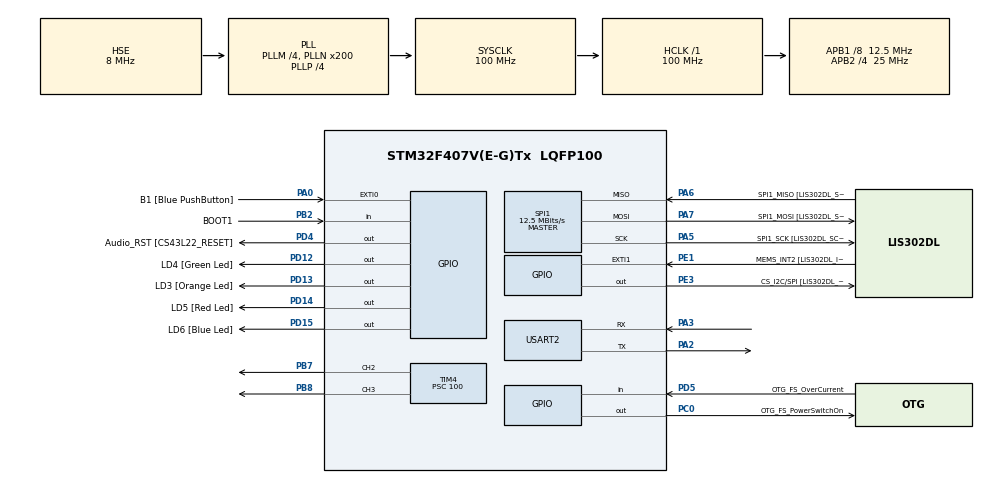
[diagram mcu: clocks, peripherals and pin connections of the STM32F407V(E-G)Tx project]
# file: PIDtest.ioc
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FREERTOS.Tasks01=ReadSensor,2,1024,ReadSensorLoop,Default,NULL,Dynamic,NULL,NULL;AttitudeCal,1,1024,AttitudeCalLoop,Default,NULL,Dynamic,NULL,NULL;PrintData,-2,1024,PrintDataLoop,Default,NULL,Dynamic,NULL,NULL
Mcu.Family=STM32F4
Mcu.Name=STM32F407V(E-G)Tx
Mcu.Package=LQFP100
NVIC.PriorityGroup=NVIC_PRIORITYGROUP_4
NVIC.USART2_IRQn=true\:5\:0\:false\:false\:true\:true
PA0-WKUP.GPIO_Label=B1 [Blue PushButton]
PA0-WKUP.GPIO_ModeDefaultEXTI=GPIO_MODE_EVT_RISING
PA0-WKUP.GPIO_PuPd=GPIO_NOPULL
PA0-WKUP.Signal=GPXTI0
PA10.GPIO_Label=OTG_FS_ID
PA10.GPIO_Mode=GPIO_MODE_AF_PP
PA10.GPIO_PuPd=GPIO_NOPULL
PA10.GPIO_Speed=GPIO_SPEED_FREQ_LOW
PA10.Signal=USB_OTG_FS_ID
PA11.GPIO_Label=OTG_FS_DM
PA11.GPIO_Mode=GPIO_MODE_AF_PP
PA11.GPIO_PuPd=GPIO_NOPULL
PA11.GPIO_Speed=GPIO_SPEED_FREQ_LOW
PA11.Signal=USB_OTG_FS_DM
PA12.GPIO_Label=OTG_FS_DP
PA12.GPIO_Mode=GPIO_MODE_AF_PP
PA12.GPIO_PuPd=GPIO_NOPULL
PA12.GPIO_Speed=GPIO_SPEED_FREQ_LOW
PA12.Signal=USB_OTG_FS_DP
PA13.GPIO_Label=SWDIO
PA13.Mode=Serial_Wire
PA13.Signal=SYS_JTMS-SWDIO
PA14.GPIO_Label=SWCLK
PA14.Mode=Serial_Wire
PA14.Signal=SYS_JTCK-SWCLK
PA2.Mode=Asynchronous
PA2.Signal=USART2_TX
PA3.Mode=Asynchronous
PA3.Signal=USART2_RX
PA4.GPIO_Label=I2S3_WS [CS43L22_LRCK]
PA4.GPIO_Mode=GPIO_MODE_AF_PP
PA4.GPIO_PuPd=GPIO_NOPULL
PA4.GPIO_Speed=GPIO_SPEED_FREQ_LOW
PA4.Signal=I2S3_WS
PA5.GPIO_Label=SPI1_SCK [LIS302DL_SCL/SPC]
PA5.GPIO_Mode=GPIO_MODE_AF_PP
PA5.GPIO_PuPd=GPIO_NOPULL
PA5.GPIO_Speed=GPIO_SPEED_FREQ_LOW
PA5.Mode=Full_Duplex_Master
PA5.Signal=SPI1_SCK
PA6.GPIO_Label=SPI1_MISO [LIS302DL_SDO]
PA6.GPIO_Mode=GPIO_MODE_AF_PP
PA6.GPIO_PuPd=GPIO_NOPULL
PA6.GPIO_Speed=GPIO_SPEED_FREQ_LOW
PA6.Mode=Full_Duplex_Master
PA6.Signal=SPI1_MISO
PA7.GPIO_Label=SPI1_MOSI [LIS302DL_SDA/SDI/SDO]
PA7.GPIO_Mode=GPIO_MODE_AF_PP
PA7.GPIO_PuPd=GPIO_NOPULL
PA7.GPIO_Speed=GPIO_SPEED_FREQ_LOW
PA7.Mode=Full_Duplex_Master
PA7.Signal=SPI1_MOSI
PA9.GPIO_Label=VBUS_FS
PA9.GPIO_Mode=GPIO_MODE_INPUT
PA9.GPIO_PuPd=GPIO_NOPULL
PA9.Signal=USB_OTG_FS_VBUS
PB10.GPIO_Label=CLK_IN [MP45DT02_CLK]
PB10.GPIO_Mode=GPIO_MODE_AF_PP
PB10.GPIO_PuPd=GPIO_NOPULL
PB10.GPIO_Speed=GPIO_SPEED_FREQ_LOW
PB10.Signal=I2S2_CK
PB2.GPIO_Label=BOOT1
PB2.GPIO_Mode=GPIO_MODE_INPUT
PB2.GPIO_PuPd=GPIO_NOPULL
PB2.Signal=GPIO_Input
PB3.GPIO_Label=SWO
PB3.Signal=SYS_JTDO-SWO
PB7.Signal=S_TIM4_CH2
PB8.Signal=S_TIM4_CH3
PC0.GPIO_Label=OTG_FS_PowerSwitchOn
PC0.GPIO_PuPd=GPIO_NOPULL
PC0.GPIO_Speed=GPIO_SPEED_FREQ_LOW
PC0.PinState=GPIO_PIN_SET
PC0.Signal=GPIO_Output
PC10.GPIO_Label=I2S3_SCK [CS43L22_SCLK]
PC10.GPIO_Mode=GPIO_MODE_AF_PP
PC10.GPIO_PuPd=GPIO_NOPULL
PC10.GPIO_Speed=GPIO_SPEED_FREQ_LOW
PC10.Signal=I2S3_CK
PC12.GPIO_Label=I2S3_SD [CS43L22_SDIN]
PC12.GPIO_Mode=GPIO_MODE_AF_PP
PC12.GPIO_PuPd=GPIO_NOPULL
PC12.GPIO_Speed=GPIO_SPEED_FREQ_LOW
PC12.Signal=I2S3_SD
PC14-OSC32_IN.GPIO_Label=PC14-OSC32_IN
PC14-OSC32_IN.Signal=RCC_OSC32_IN
PC15-OSC32_OUT.GPIO_Label=PC15-OSC32_OUT
PC15-OSC32_OUT.Signal=RCC_OSC32_OUT
PC3.GPIO_Label=PDM_OUT [MP45DT02_DOUT]
PC3.GPIO_Mode=GPIO_MODE_AF_PP
PC3.GPIO_PuPd=GPIO_NOPULL
PC3.GPIO_Speed=GPIO_SPEED_FREQ_LOW
PC3.Signal=I2S2_SD
PC7.GPIO_Label=I2S3_MCK [CS43L22_MCLK]
PC7.GPIO_Mode=GPIO_MODE_AF_PP
PC7.GPIO_PuPd=GPIO_NOPULL
PC7.GPIO_Speed=GPIO_SPEED_FREQ_LOW
PC7.Signal=I2S3_MCK
PD12.GPIO_Label=LD4 [Green Led]
PD12.GPIO_PuPd=GPIO_NOPULL
PD12.GPIO_Speed=GPIO_SPEED_FREQ_LOW
PD12.Signal=GPIO_Output
PD13.GPIO_Label=LD3 [Orange Led]
PD13.GPIO_PuPd=GPIO_NOPULL
PD13.GPIO_Speed=GPIO_SPEED_FREQ_LOW
PD13.Signal=GPIO_Output
PD14.GPIO_Label=LD5 [Red Led]
PD14.GPIO_PuPd=GPIO_NOPULL
PD14.GPIO_Speed=GPIO_SPEED_FREQ_LOW
PD14.Signal=GPIO_Output
PD15.GPIO_Label=LD6 [Blue Led]
PD15.GPIO_PuPd=GPIO_NOPULL
PD15.GPIO_Speed=GPIO_SPEED_FREQ_LOW
PD15.Signal=GPIO_Output
PD4.GPIO_Label=Audio_RST [CS43L22_RESET]
PD4.GPIO_PuPd=GPIO_NOPULL
PD4.GPIO_Speed=GPIO_SPEED_FREQ_LOW
PD4.Signal=GPIO_Output
PD5.GPIO_Label=OTG_FS_OverCurrent
PD5.GPIO_Mode=GPIO_MODE_INPUT
PD5.GPIO_PuPd=GPIO_NOPULL
PD5.Signal=GPIO_Input
PE1.GPIO_Label=MEMS_INT2 [LIS302DL_INT2]
PE1.GPIO_ModeDefaultEXTI=GPIO_MODE_EVT_RISING
PE1.GPIO_PuPd=GPIO_NOPULL
PE1.Signal=GPXTI1
PE3.GPIO_Label=CS_I2C/SPI [LIS302DL_CS_I2C/SPI]
PE3.GPIO_PuPd=GPIO_NOPULL
PE3.GPIO_Speed=GPIO_SPEED_FREQ_LOW
PE3.Signal=GPIO_Output
PH0-OSC_IN.GPIO_Label=PH0-OSC_IN
PH0-OSC_IN.Mode=HSE-External-Oscillator
PH0-OSC_IN.Signal=RCC_OSC_IN
PH1-OSC_OUT.GPIO_Label=PH1-OSC_OUT
PH1-OSC_OUT.Mode=HSE-External-Oscillator
PH1-OSC_OUT.Signal=RCC_OSC_OUT
ProjectManager.HeapSize=0x200
ProjectManager.StackSize=0x400
ProjectManager.TargetToolchain=SW4STM32
RCC.48MHZClocksFreq_Value=57142857.14285714
RCC.AHBFreq_Value=100000000
RCC.APB1CLKDivider=RCC_HCLK_DIV8
RCC.APB1Freq_Value=12500000
RCC.APB1TimFreq_Value=25000000
RCC.APB2CLKDivider=RCC_HCLK_DIV4
RCC.APB2Freq_Value=25000000
RCC.APB2TimFreq_Value=50000000
RCC.CortexFreq_Value=100000000
RCC.HCLKFreq_Value=100000000
RCC.HSE_VALUE=8000000
RCC.HSI_VALUE=16000000
RCC.LSE_VALUE=32768
RCC.PLLM=4
RCC.PLLN=200
RCC.PLLP=RCC_PLLP_DIV4
RCC.PLLQ=7
RCC.PLLSourceVirtual=RCC_PLLSOURCE_HSE
RCC.SYSCLKFreq_VALUE=100000000
RCC.SYSCLKSource=RCC_SYSCLKSOURCE_PLLCLK
RCC.VCOOutputFreq_Value=400000000
SH.S_TIM4_CH2.0=TIM4_CH2,PWM Generation2 CH2
SH.S_TIM4_CH3.0=TIM4_CH3,PWM Generation3 CH3
SPI1.CalculateBaudRate=12.5 MBits/s
SPI1.Mode=SPI_MODE_MASTER
TIM4.Channel-PWM\ Generation2\ CH2=TIM_CHANNEL_2
TIM4.Channel-PWM\ Generation3\ CH3=TIM_CHANNEL_3
TIM4.Period=5000
TIM4.Prescaler=100
TIM4.Pulse-PWM\ Generation2\ CH2=100
TIM4.Pulse-PWM\ Generation3\ CH3=1000
VP_FREERTOS_VS_ENABLE.Mode=Enabled
board=STM32F4DISCOVERY

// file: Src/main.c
/**
  ******************************************************************************
  * File Name          : main.c
  * Description        : Main program body
  ******************************************************************************
  *
  * Copyright (c) 2017 STMicroelectronics International N.V.
  * All rights reserved.
  *
  * Redistribution and use in source and binary forms, with or without
  * modification, are permitted, provided that the following conditions are met:
  *
  * 1. Redistribution of source code must retain the above copyright notice,
  *    this list of conditions and the following disclaimer.
  * 2. Redistributions in binary form must reproduce the above copyright notice,
  *    this list of conditions and the following disclaimer in the documentation
  *    and/or other materials provided with the distribution.
  * 3. Neither the name of STMicroelectronics nor the names of other
  *    contributors to this software may be used to endorse or promote products
  *    derived from this software without specific written permission.
  * 4. This software, including modifications and/or derivative works of this
  *    software, must execute solely and exclusively on microcontroller or
  *    microprocessor devices manufactured by or for STMicroelectronics.
  * 5. Redistribution and use of this software other than as permitted under
  *    this license is void and will automatically terminate your rights under
  *    this license.
  *
  * THIS SOFTWARE IS PROVIDED BY STMICROELECTRONICS AND CONTRIBUTORS "AS IS"
  * AND ANY EXPRESS, IMPLIED OR STATUTORY WARRANTIES, INCLUDING, BUT NOT
  * LIMITED TO, THE IMPLIED WARRANTIES OF MERCHANTABILITY, FITNESS FOR A
  * PARTICULAR PURPOSE AND NON-INFRINGEMENT OF THIRD PARTY INTELLECTUAL PROPERTY
  * RIGHTS ARE DISCLAIMED TO THE FULLEST EXTENT PERMITTED BY LAW. IN NO EVENT
  * SHALL STMICROELECTRONICS OR CONTRIBUTORS BE LIABLE FOR ANY DIRECT, INDIRECT,
  * INCIDENTAL, SPECIAL, EXEMPLARY, OR CONSEQUENTIAL DAMAGES (INCLUDING, BUT NOT
  * LIMITED TO, PROCUREMENT OF SUBSTITUTE GOODS OR SERVICES; LOSS OF USE, DATA,
  * OR PROFITS; OR BUSINESS INTERRUPTION) HOWEVER CAUSED AND ON ANY THEORY OF
  * LIABILITY, WHETHER IN CONTRACT, STRICT LIABILITY, OR TORT (INCLUDING
  * NEGLIGENCE OR OTHERWISE) ARISING IN ANY WAY OUT OF THE USE OF THIS SOFTWARE,
  * EVEN IF ADVISED OF THE POSSIBILITY OF SUCH DAMAGE.
  *
  ******************************************************************************
  */
#include "main.h"
#include "stm32f4xx_hal.h"
#include "cmsis_os.h"

/* USER CODE BEGIN Includes */
#include <string.h>
#include <stdio.h>
#include <math.h>
#include "matrix.h"
#include "I2C_Software_Master.h"
/* USER CODE END Includes */

SPI_HandleTypeDef hspi1;

TIM_HandleTypeDef htim4;

UART_HandleTypeDef huart2;

osThreadId ReadSensorHandle;
osThreadId AttitudeCalHandle;
osThreadId PrintDataHandle;

/* USER CODE BEGIN PV */
/* Private variables ---------------------------------------------------------*/

/* USER CODE END PV */

void SystemClock_Config(void);
void Error_Handler(void);
static void MX_GPIO_Init(void);
static void MX_SPI1_Init(void);
static void MX_USART2_UART_Init(void);
static void MX_TIM4_Init(void);
void ReadSensorLoop(void const * argument);
void AttitudeCalLoop(void const * argument);
void PrintDataLoop(void const * argument);

void HAL_TIM_MspPostInit(TIM_HandleTypeDef *htim);

/* USER CODE BEGIN PFP */
/* Private function prototypes -----------------------------------------------*/

/* USER CODE END PFP */

/* USER CODE BEGIN 0 */
void GyroInit();
void GyroWriteOne(uint8_t address, uint8_t data);
void GyroReadData(uint8_t address, int readAmount, uint8_t *databuf);
void AccInit();
void user_pwm_setvalue(uint16_t value, uint32_t ch);
void servoControl(char axis, float conAngle);
void moveCommand(float AskedRoll, float AskedPitch);
int8_t u2txbuf[100];
#define print2UART(...) sprintf(u2txbuf, __VA_ARGS__);HAL_UART_Transmit(&huart2, u2txbuf, strlen((char *)u2txbuf), 1000);
#define AccAddress 0x32

char DataIsReady = 0;
uint8_t GyroRawData[6], AccRawData[6];
uint8_t RxBuf;
int16_t GyroOffset[3]={0},AccOffset[3]={0};
uint16_t pwmDutyX, pwmDutyY;
uint32_t time_s,time;
float Roll=.0f, Pitch=.0f, Yaw=.0f;
float Roll_e[3] = {0}, Pitch_e[3] = {0};
Matrix(GyroDCM,3,3);
Matrix(AccDCM,3,3);
typedef union _f2b{
	float F;
	uint8_t b[4];
}F2B;

F2B setRoll, setPitch;

/* USER CODE END 0 */

int main(void)
{

  /* MCU Configuration----------------------------------------------------------*/

  /* Reset of all peripherals, Initializes the Flash interface and the Systick. */
  HAL_Init();

  /* Configure the system clock */
  SystemClock_Config();

  /* Initialize all configured peripherals */
  MX_GPIO_Init();
  MX_SPI1_Init();
  MX_USART2_UART_Init();
  MX_TIM4_Init();

  /* USER CODE BEGIN 2 */
  setRoll.F = setPitch.F = .0f;
  I2C_SoftWare_Master_Init();
  HAL_GPIO_WritePin(GPIOD, LD4_Pin, GPIO_PIN_RESET);
  pwmDutyX = pwmDutyY = 400;
  user_pwm_setvalue(pwmDutyX, TIM_CHANNEL_2);
  user_pwm_setvalue(pwmDutyY, TIM_CHANNEL_3);
  HAL_Delay(500);
  GyroInit();
  AccInit();
  eye_Matrix(GyroDCM, 3);
  HAL_GPIO_WritePin(GPIOD, LD4_Pin, GPIO_PIN_SET);
  HAL_UART_Receive_IT(&huart2, &RxBuf, 1);
  /* USER CODE END 2 */

  /* Create the thread(s) */
  /* definition and creation of ReadSensor */
  osThreadDef(ReadSensor, ReadSensorLoop, osPriorityHigh, 0, 1024);
  ReadSensorHandle = osThreadCreate(osThread(ReadSensor), NULL);

  /* definition and creation of AttitudeCal */
  osThreadDef(AttitudeCal, AttitudeCalLoop, osPriorityAboveNormal, 0, 1024);
  AttitudeCalHandle = osThreadCreate(osThread(AttitudeCal), NULL);

  /* definition and creation of PrintData */
  osThreadDef(PrintData, PrintDataLoop, osPriorityLow, 0, 1024);
  PrintDataHandle = osThreadCreate(osThread(PrintData), NULL);

  /* Start scheduler */
  osKernelStart();

  /* We should never get here as control is now taken by the scheduler */

  /* Infinite loop */
  while (1)
  {

  }

}

/** System Clock Configuration
*/
void SystemClock_Config(void)
{

  RCC_OscInitTypeDef RCC_OscInitStruct;
  RCC_ClkInitTypeDef RCC_ClkInitStruct;

    /**Configure the main internal regulator output voltage
    */
  __HAL_RCC_PWR_CLK_ENABLE();

  __HAL_PWR_VOLTAGESCALING_CONFIG(PWR_REGULATOR_VOLTAGE_SCALE1);

    /**Initializes the CPU, AHB and APB busses clocks
    */
  RCC_OscInitStruct.OscillatorType = RCC_OSCILLATORTYPE_HSE;
  RCC_OscInitStruct.HSEState = RCC_HSE_ON;
  RCC_OscInitStruct.PLL.PLLState = RCC_PLL_ON;
  RCC_OscInitStruct.PLL.PLLSource = RCC_PLLSOURCE_HSE;
  RCC_OscInitStruct.PLL.PLLM = 4;
  RCC_OscInitStruct.PLL.PLLN = 200;
  RCC_OscInitStruct.PLL.PLLP = RCC_PLLP_DIV4;
  RCC_OscInitStruct.PLL.PLLQ = 7;
  if (HAL_RCC_OscConfig(&RCC_OscInitStruct) != HAL_OK)
  {
    Error_Handler();
  }

    /**Initializes the CPU, AHB and APB busses clocks
    */
  RCC_ClkInitStruct.ClockType = RCC_CLOCKTYPE_HCLK|RCC_CLOCKTYPE_SYSCLK
                              |RCC_CLOCKTYPE_PCLK1|RCC_CLOCKTYPE_PCLK2;
  RCC_ClkInitStruct.SYSCLKSource = RCC_SYSCLKSOURCE_PLLCLK;
  RCC_ClkInitStruct.AHBCLKDivider = RCC_SYSCLK_DIV1;
  RCC_ClkInitStruct.APB1CLKDivider = RCC_HCLK_DIV8;
  RCC_ClkInitStruct.APB2CLKDivider = RCC_HCLK_DIV4;

  if (HAL_RCC_ClockConfig(&RCC_ClkInitStruct, FLASH_LATENCY_3) != HAL_OK)
  {
    Error_Handler();
  }

    /**Configure the Systick interrupt time
    */
  HAL_SYSTICK_Config(HAL_RCC_GetHCLKFreq()/1000);

    /**Configure the Systick
    */
  HAL_SYSTICK_CLKSourceConfig(SYSTICK_CLKSOURCE_HCLK);

  /* SysTick_IRQn interrupt configuration */
  HAL_NVIC_SetPriority(SysTick_IRQn, 15, 0);
}

/* SPI1 init function */
static void MX_SPI1_Init(void)
{

  hspi1.Instance = SPI1;
  hspi1.Init.Mode = SPI_MODE_MASTER;
  hspi1.Init.Direction = SPI_DIRECTION_2LINES;
  hspi1.Init.DataSize = SPI_DATASIZE_8BIT;
  hspi1.Init.CLKPolarity = SPI_POLARITY_LOW;
  hspi1.Init.CLKPhase = SPI_PHASE_1EDGE;
  hspi1.Init.NSS = SPI_NSS_SOFT;
  hspi1.Init.BaudRatePrescaler = SPI_BAUDRATEPRESCALER_2;
  hspi1.Init.FirstBit = SPI_FIRSTBIT_MSB;
  hspi1.Init.TIMode = SPI_TIMODE_DISABLE;
  hspi1.Init.CRCCalculation = SPI_CRCCALCULATION_DISABLE;
  hspi1.Init.CRCPolynomial = 10;
  if (HAL_SPI_Init(&hspi1) != HAL_OK)
  {
    Error_Handler();
  }

}

/* TIM4 init function */
static void MX_TIM4_Init(void)
{

  TIM_MasterConfigTypeDef sMasterConfig;
  TIM_OC_InitTypeDef sConfigOC;

  htim4.Instance = TIM4;
  htim4.Init.Prescaler = 100;
  htim4.Init.CounterMode = TIM_COUNTERMODE_UP;
  htim4.Init.Period = 5000;
  htim4.Init.ClockDivision = TIM_CLOCKDIVISION_DIV1;
  if (HAL_TIM_PWM_Init(&htim4) != HAL_OK)
  {
    Error_Handler();
  }

  sMasterConfig.MasterOutputTrigger = TIM_TRGO_RESET;
  sMasterConfig.MasterSlaveMode = TIM_MASTERSLAVEMODE_DISABLE;
  if (HAL_TIMEx_MasterConfigSynchronization(&htim4, &sMasterConfig) != HAL_OK)
  {
    Error_Handler();
  }

  sConfigOC.OCMode = TIM_OCMODE_PWM1;
  sConfigOC.Pulse = 100;
  sConfigOC.OCPolarity = TIM_OCPOLARITY_HIGH;
  sConfigOC.OCFastMode = TIM_OCFAST_DISABLE;
  if (HAL_TIM_PWM_ConfigChannel(&htim4, &sConfigOC, TIM_CHANNEL_2) != HAL_OK)
  {
    Error_Handler();
  }

  sConfigOC.Pulse = 1000;
  if (HAL_TIM_PWM_ConfigChannel(&htim4, &sConfigOC, TIM_CHANNEL_3) != HAL_OK)
  {
    Error_Handler();
  }

  HAL_TIM_MspPostInit(&htim4);

}

/* USART2 init function */
static void MX_USART2_UART_Init(void)
{

  huart2.Instance = USART2;
  huart2.Init.BaudRate = 115200;
  huart2.Init.WordLength = UART_WORDLENGTH_8B;
  huart2.Init.StopBits = UART_STOPBITS_1;
  huart2.Init.Parity = UART_PARITY_NONE;
  huart2.Init.Mode = UART_MODE_TX_RX;
  huart2.Init.HwFlowCtl = UART_HWCONTROL_NONE;
  huart2.Init.OverSampling = UART_OVERSAMPLING_16;
  if (HAL_UART_Init(&huart2) != HAL_OK)
  {
    Error_Handler();
  }

}

/** Configure pins as
        * Analog
        * Input
        * Output
        * EVENT_OUT
        * EXTI
     PC3   ------> I2S2_SD
     PA4   ------> I2S3_WS
     PB10   ------> I2S2_CK
     PC7   ------> I2S3_MCK
     PA9   ------> USB_OTG_FS_VBUS
     PA10   ------> USB_OTG_FS_ID
     PA11   ------> USB_OTG_FS_DM
     PA12   ------> USB_OTG_FS_DP
     PC10   ------> I2S3_CK
     PC12   ------> I2S3_SD
*/
static void MX_GPIO_Init(void)
{

  GPIO_InitTypeDef GPIO_InitStruct;

  /* GPIO Ports Clock Enable */
  __HAL_RCC_GPIOE_CLK_ENABLE();
  __HAL_RCC_GPIOC_CLK_ENABLE();
  __HAL_RCC_GPIOH_CLK_ENABLE();
  __HAL_RCC_GPIOA_CLK_ENABLE();
  __HAL_RCC_GPIOB_CLK_ENABLE();
  __HAL_RCC_GPIOD_CLK_ENABLE();

  /*Configure GPIO pin Output Level */
  HAL_GPIO_WritePin(CS_I2C_SPI_GPIO_Port, CS_I2C_SPI_Pin, GPIO_PIN_RESET);

  /*Configure GPIO pin Output Level */
  HAL_GPIO_WritePin(OTG_FS_PowerSwitchOn_GPIO_Port, OTG_FS_PowerSwitchOn_Pin, GPIO_PIN_SET);

  /*Configure GPIO pin Output Level */
  HAL_GPIO_WritePin(GPIOD, LD4_Pin|LD3_Pin|LD5_Pin|LD6_Pin
                          |Audio_RST_Pin, GPIO_PIN_RESET);

  /*Configure GPIO pin : CS_I2C_SPI_Pin */
  GPIO_InitStruct.Pin = CS_I2C_SPI_Pin;
  GPIO_InitStruct.Mode = GPIO_MODE_OUTPUT_PP;
  GPIO_InitStruct.Pull = GPIO_NOPULL;
  GPIO_InitStruct.Speed = GPIO_SPEED_FREQ_LOW;
  HAL_GPIO_Init(CS_I2C_SPI_GPIO_Port, &GPIO_InitStruct);

  /*Configure GPIO pin : OTG_FS_PowerSwitchOn_Pin */
  GPIO_InitStruct.Pin = OTG_FS_PowerSwitchOn_Pin;
  GPIO_InitStruct.Mode = GPIO_MODE_OUTPUT_PP;
  GPIO_InitStruct.Pull = GPIO_NOPULL;
  GPIO_InitStruct.Speed = GPIO_SPEED_FREQ_LOW;
  HAL_GPIO_Init(OTG_FS_PowerSwitchOn_GPIO_Port, &GPIO_InitStruct);

  /*Configure GPIO pin : PDM_OUT_Pin */
  GPIO_InitStruct.Pin = PDM_OUT_Pin;
  GPIO_InitStruct.Mode = GPIO_MODE_AF_PP;
  GPIO_InitStruct.Pull = GPIO_NOPULL;
  GPIO_InitStruct.Speed = GPIO_SPEED_FREQ_LOW;
  GPIO_InitStruct.Alternate = GPIO_AF5_SPI2;
  HAL_GPIO_Init(PDM_OUT_GPIO_Port, &GPIO_InitStruct);

  /*Configure GPIO pin : B1_Pin */
  GPIO_InitStruct.Pin = B1_Pin;
  GPIO_InitStruct.Mode = GPIO_MODE_EVT_RISING;
  GPIO_InitStruct.Pull = GPIO_NOPULL;
  HAL_GPIO_Init(B1_GPIO_Port, &GPIO_InitStruct);

  /*Configure GPIO pin : I2S3_WS_Pin */
  GPIO_InitStruct.Pin = I2S3_WS_Pin;
  GPIO_InitStruct.Mode = GPIO_MODE_AF_PP;
  GPIO_InitStruct.Pull = GPIO_NOPULL;
  GPIO_InitStruct.Speed = GPIO_SPEED_FREQ_LOW;
  GPIO_InitStruct.Alternate = GPIO_AF6_SPI3;
  HAL_GPIO_Init(I2S3_WS_GPIO_Port, &GPIO_InitStruct);

  /*Configure GPIO pin : BOOT1_Pin */
  GPIO_InitStruct.Pin = BOOT1_Pin;
  GPIO_InitStruct.Mode = GPIO_MODE_INPUT;
  GPIO_InitStruct.Pull = GPIO_NOPULL;
  HAL_GPIO_Init(BOOT1_GPIO_Port, &GPIO_InitStruct);

  /*Configure GPIO pin : CLK_IN_Pin */
  GPIO_InitStruct.Pin = CLK_IN_Pin;
  GPIO_InitStruct.Mode = GPIO_MODE_AF_PP;
  GPIO_InitStruct.Pull = GPIO_NOPULL;
  GPIO_InitStruct.Speed = GPIO_SPEED_FREQ_LOW;
  GPIO_InitStruct.Alternate = GPIO_AF5_SPI2;
  HAL_GPIO_Init(CLK_IN_GPIO_Port, &GPIO_InitStruct);

  /*Configure GPIO pins : LD4_Pin LD3_Pin LD5_Pin LD6_Pin
                           Audio_RST_Pin */
  GPIO_InitStruct.Pin = LD4_Pin|LD3_Pin|LD5_Pin|LD6_Pin
                          |Audio_RST_Pin;
  GPIO_InitStruct.Mode = GPIO_MODE_OUTPUT_PP;
  GPIO_InitStruct.Pull = GPIO_NOPULL;
  GPIO_InitStruct.Speed = GPIO_SPEED_FREQ_LOW;
  HAL_GPIO_Init(GPIOD, &GPIO_InitStruct);

  /*Configure GPIO pins : I2S3_MCK_Pin I2S3_SCK_Pin I2S3_SD_Pin */
  GPIO_InitStruct.Pin = I2S3_MCK_Pin|I2S3_SCK_Pin|I2S3_SD_Pin;
  GPIO_InitStruct.Mode = GPIO_MODE_AF_PP;
  GPIO_InitStruct.Pull = GPIO_NOPULL;
  GPIO_InitStruct.Speed = GPIO_SPEED_FREQ_LOW;
  GPIO_InitStruct.Alternate = GPIO_AF6_SPI3;
  HAL_GPIO_Init(GPIOC, &GPIO_InitStruct);

  /*Configure GPIO pin : VBUS_FS_Pin */
  GPIO_InitStruct.Pin = VBUS_FS_Pin;
  GPIO_InitStruct.Mode = GPIO_MODE_INPUT;
  GPIO_InitStruct.Pull = GPIO_NOPULL;
  HAL_GPIO_Init(VBUS_FS_GPIO_Port, &GPIO_InitStruct);

  /*Configure GPIO pins : OTG_FS_ID_Pin OTG_FS_DM_Pin OTG_FS_DP_Pin */
  GPIO_InitStruct.Pin = OTG_FS_ID_Pin|OTG_FS_DM_Pin|OTG_FS_DP_Pin;
  GPIO_InitStruct.Mode = GPIO_MODE_AF_PP;
  GPIO_InitStruct.Pull = GPIO_NOPULL;
  GPIO_InitStruct.Speed = GPIO_SPEED_FREQ_LOW;
  GPIO_InitStruct.Alternate = GPIO_AF10_OTG_FS;
  HAL_GPIO_Init(GPIOA, &GPIO_InitStruct);

  /*Configure GPIO pin : OTG_FS_OverCurrent_Pin */
  GPIO_InitStruct.Pin = OTG_FS_OverCurrent_Pin;
  GPIO_InitStruct.Mode = GPIO_MODE_INPUT;
  GPIO_InitStruct.Pull = GPIO_NOPULL;
  HAL_GPIO_Init(OTG_FS_OverCurrent_GPIO_Port, &GPIO_InitStruct);

  /*Configure GPIO pin : MEMS_INT2_Pin */
  GPIO_InitStruct.Pin = MEMS_INT2_Pin;
  GPIO_InitStruct.Mode = GPIO_MODE_EVT_RISING;
  GPIO_InitStruct.Pull = GPIO_NOPULL;
  HAL_GPIO_Init(MEMS_INT2_GPIO_Port, &GPIO_InitStruct);

}

/* USER CODE BEGIN 4 */
void GyroInit(){
	uint8_t RawData[6];
	int16_t temp16[3];
	GyroWriteOne(0x20, 0x0F);
	for(int i=0;i<100;i++){
		GyroReadData(0x28+0xC0, 6, RawData);
		temp16[0] = (((int16_t)RawData[1]) <<8 ) + RawData[0];
		temp16[1] = (((int16_t)RawData[3]) <<8 ) + RawData[2];
		temp16[2] = (((int16_t)RawData[5]) <<8 ) + RawData[4];

		GyroOffset[0] += temp16[0];
		GyroOffset[1] += temp16[1];
		GyroOffset[2] += temp16[2];

		HAL_Delay(5);
	}
	for(int i=0;i<3;i++)
		GyroOffset[i] /=  100;
}

void GyroWriteOne(uint8_t address, uint8_t data){
	HAL_GPIO_WritePin(GPIOE,GPIO_PIN_3,GPIO_PIN_RESET);
	HAL_SPI_Transmit(&hspi1, &address, 1, 50);
	HAL_SPI_Transmit(&hspi1, &data, 1, 50);
	HAL_GPIO_WritePin(GPIOE,GPIO_PIN_3,GPIO_PIN_SET);
}

void GyroReadData(uint8_t address, int readAmount, uint8_t *databuf){
	HAL_GPIO_WritePin(GPIOE,GPIO_PIN_3,GPIO_PIN_RESET);
	HAL_SPI_Transmit(&hspi1, &address, 1, 50);
	HAL_SPI_Receive(&hspi1, databuf, readAmount, 50);
	HAL_GPIO_WritePin(GPIOE,GPIO_PIN_3,GPIO_PIN_SET);
}

void AccInit(){
	//Turn on the Acc by send 0x27 to address 0x20
	uint8_t data = 0x27;
	I2C_SoftWare_Master_Write(AccAddress, 0x20, &data, 1);
}

void user_pwm_setvalue(uint16_t value, uint32_t ch){
	TIM_OC_InitTypeDef sConfigOC;

	sConfigOC.OCMode = TIM_OCMODE_PWM1;
	sConfigOC.Pulse = value;
	sConfigOC.OCPolarity = TIM_OCPOLARITY_HIGH;
	sConfigOC.OCFastMode = TIM_OCFAST_DISABLE;
	HAL_TIM_PWM_ConfigChannel(&htim4, &sConfigOC, ch);
	HAL_TIM_PWM_Start(&htim4, ch);
}

void servoControl(char axis, float conAngle)
{
	if(conAngle >= -8.0f && conAngle <= 8.0f)
	{
		int16_t conDuty = (int16_t)(conAngle * 25.0f);
		switch(axis){
		case 'x':
			pwmDutyX += conDuty;
			if(pwmDutyX > 600)
				pwmDutyX = 600;
			else if(pwmDutyX < 200)
				pwmDutyX = 200;
			user_pwm_setvalue(pwmDutyX, TIM_CHANNEL_2);
			break;
		case 'y':
			pwmDutyY += conDuty;
			if(pwmDutyY > 600)
				pwmDutyY = 600;
			else if(pwmDutyY < 200)
				pwmDutyY = 200;
			user_pwm_setvalue(pwmDutyY, TIM_CHANNEL_3);
			break;
		}
	}

}

void moveCommand(float AskedRoll, float AskedPitch)
{
	Roll_e[0] = Roll - AskedRoll;
	Pitch_e[0] = Pitch - AskedPitch;
	float Kp = 0.01f, Ki = 0.4f, Kd = 0.02f;
	float P_Roll, I_Roll, D_Roll, P_Pitch, I_Pitch, D_Pitch;
	P_Roll = Roll_e[0] - Roll_e[1]; I_Roll = Roll_e[0]; D_Roll = Roll_e[0] - 2 * Roll_e[1] + Roll_e[2];
	P_Pitch = Pitch_e[0] - Pitch_e[1]; I_Pitch = Pitch_e[0]; D_Pitch = Pitch_e[0] - 2 * Pitch_e[1] + Pitch_e[2];
	float RollCommand, PitchCommand;
	float AngleError = 0.3f;

	RollCommand = Kp * P_Roll + Ki * I_Roll + Kd * D_Roll;
	PitchCommand = Kp * P_Pitch + Ki * I_Pitch + Kd * D_Pitch;

	Roll_e[2] = Roll_e[1]; Roll_e[1] = Roll_e[0];
	Pitch_e[2] = Pitch_e[1]; Pitch_e[1] = Pitch_e[0];

	if(RollCommand > AngleError || RollCommand < -AngleError)
		servoControl('x', RollCommand);
	if(PitchCommand > AngleError || PitchCommand < -AngleError)
		servoControl('y', PitchCommand);
}

void HAL_UART_RxCpltCallback(UART_HandleTypeDef * huart)
{
	static uint8_t RxState = 0;
	static uint8_t dataCount = 0;
	if(huart->Instance == huart2.Instance)
	{
		switch(RxState)
		{
		case 0:
			if(RxBuf == '^')
			{
				HAL_GPIO_WritePin(GPIOD, LD5_Pin, GPIO_PIN_SET);
				RxState++;
			}
			break;
		case 1:
			if(RxBuf == 'A')
			{
				HAL_GPIO_WritePin(GPIOD, LD6_Pin, GPIO_PIN_SET);
				RxState++;
			}
			else
			{
				HAL_GPIO_WritePin(GPIOD, LD5_Pin, GPIO_PIN_RESET);
				RxState = 0;
			}
			break;
		case 2:
			if(RxBuf == 'R')
				RxState++;
			else if(RxBuf == 'P')
				RxState = 4;
			else
			{
				HAL_GPIO_WritePin(GPIOD, LD5_Pin, GPIO_PIN_RESET);
				HAL_GPIO_WritePin(GPIOD, LD6_Pin, GPIO_PIN_RESET);
				RxState = 0;
			}
			break;
		case 3:  //catch roll
			setRoll.b[dataCount] = RxBuf;
			dataCount++;
			if(dataCount == 4)
			{
				dataCount = 0;
				RxState = 2;
			}
			break;
		case 4:  //catch Pitch
			setPitch.b[dataCount] = RxBuf;
			dataCount++;
			if(dataCount == 4)
			{
				dataCount = 0;
				RxState = 2;
			}
			break;

		}
	}
	HAL_UART_Receive_IT(&huart2, &RxBuf, 1);
}
/* USER CODE END 4 */

/* ReadSensorLoop function */
void ReadSensorLoop(void const * argument)
{

  /* USER CODE BEGIN 5 */
  /* Infinite loop */
  for(;;)
  {
//	time_s = xTaskGetTickCount();
	GyroReadData(0x28+0xC0, 6, GyroRawData);

	uint8_t address = 0x28;
	for(int i=0;i<6;i++){
		I2C_SoftWare_Master_Read(AccAddress, address, &AccRawData[i], 1);
		address++;
	}

	osDelay(1);
//	time_e = xTaskGetTickCount();
//	time = time_e - time_s;
  }
  /* USER CODE END 5 */
}

/* AttitudeCalLoop function */
void AttitudeCalLoop(void const * argument)
{
  /* USER CODE BEGIN AttitudeCalLoop */
  /* Infinite loop */
  int16_t GyroData[3], AccData[3];
  float GyroOmega[3],Gravity[3],AccRoll,AccPitch;
  for(;;)
  {
//	time_s = xTaskGetTickCount();
		GyroData[0] = (((int16_t)GyroRawData[1]) <<8 ) + GyroRawData[0] - GyroOffset[0];
		GyroData[1] = (((int16_t)GyroRawData[3]) <<8 ) + GyroRawData[2] - GyroOffset[1];
		GyroData[2] = (((int16_t)GyroRawData[5]) <<8 ) + GyroRawData[4] - GyroOffset[2];

		for(int i=0;i<3;i++)
			GyroOmega[i] = GyroData[i] * 250.0 / 32767.0;

		float dt = 0.014;
		gyroRot(GyroDCM, GyroOmega[0] * dt, GyroOmega[1] * dt, GyroOmega[2] * dt);

		AccData[0] = (((int16_t)AccRawData[1]) << 8) + AccRawData[0];// - AccOffset[0];
		AccData[1] = (((int16_t)AccRawData[3]) << 8) + AccRawData[2];// - AccOffset[1];
		AccData[2] = (((int16_t)AccRawData[5]) << 8) + AccRawData[4];// - AccOffset[2];

		for(int i=0;i<3;i++)
			Gravity[i] = (((float)AccData[i]) / 32767.0) * 2.0;

		AccPitch = atan2(Gravity[0],sqrt(Gravity[1]*Gravity[1] + Gravity[2]*Gravity[2])) * 180.0 / M_PI;
		if(Gravity[2] > 0)
			AccRoll = atan2(-1.0f * Gravity[1], sqrt(Gravity[2]*Gravity[2] + 0.1f * Gravity[0]*Gravity[0])) * 180.0 / M_PI;
		else
			AccRoll = atan2(-1.0f * Gravity[1], -1.0f * sqrt(Gravity[2]*Gravity[2] + 0.01f * Gravity[0]*Gravity[0])) * 180.0 / M_PI;

		eulRot(AccDCM, AccRoll, AccPitch, Yaw);

		float a = 0.98;
		for(int i=0;i<9;i++)
			GyroDCM[i] = GyroDCM[i] * a + AccDCM[i] * (1 - a);

    osDelay(10);
//    time = xTaskGetTickCount() - time_s;
  }
  /* USER CODE END AttitudeCalLoop */
}

/* PrintDataLoop function */
void PrintDataLoop(void const * argument)
{
  /* USER CODE BEGIN PrintDataLoop */
  /* Infinite loop */
  for(;;)
  {
	mat2ang(GyroDCM, &Roll, &Pitch, &Yaw);
//	mat2ang(AccDCM, &Roll, &Pitch, &Yaw);

	F2B Roll2Send, Pitch2Send, Yaw2Send;
	Roll2Send.F = Roll;
	Pitch2Send.F = Pitch;
//	Yaw2Send.F = Yaw;
//	Roll2Send.F = C_Roll;
//	Pitch2Send.F = C_Pitch;

	uint8_t dataLength = 16;
	uint8_t DataToSend[dataLength];
	for(int i=3;i<7;i++)
		DataToSend[i] = Roll2Send.b[i-3];
	for(int i=7;i<11;i++)
		DataToSend[i] = Pitch2Send.b[i-7];
	for(int i=11;i<15;i++)
			DataToSend[i] = Yaw2Send.b[i-11];
	DataToSend[0] = '^';
	DataToSend[1] = dataLength;
	DataToSend[2] = 'A';

	DataToSend[dataLength-1] = 0;
	for(int i=2;i<dataLength-1;i++)
		DataToSend[dataLength-1] += DataToSend[i];

	HAL_UART_Transmit(&huart2, DataToSend, dataLength, 1000);
//	HAL_UART_Transmit(&huart2, RxBuf, 1, 1000);

	moveCommand(setRoll.F, setPitch.F);

    osDelay(100);
  }
  /* USER CODE END PrintDataLoop */
}

void Error_Handler(void)
{
  while(1)
  {
  }
}

/************************ (C) COPYRIGHT STMicroelectronics *****END OF FILE****/
